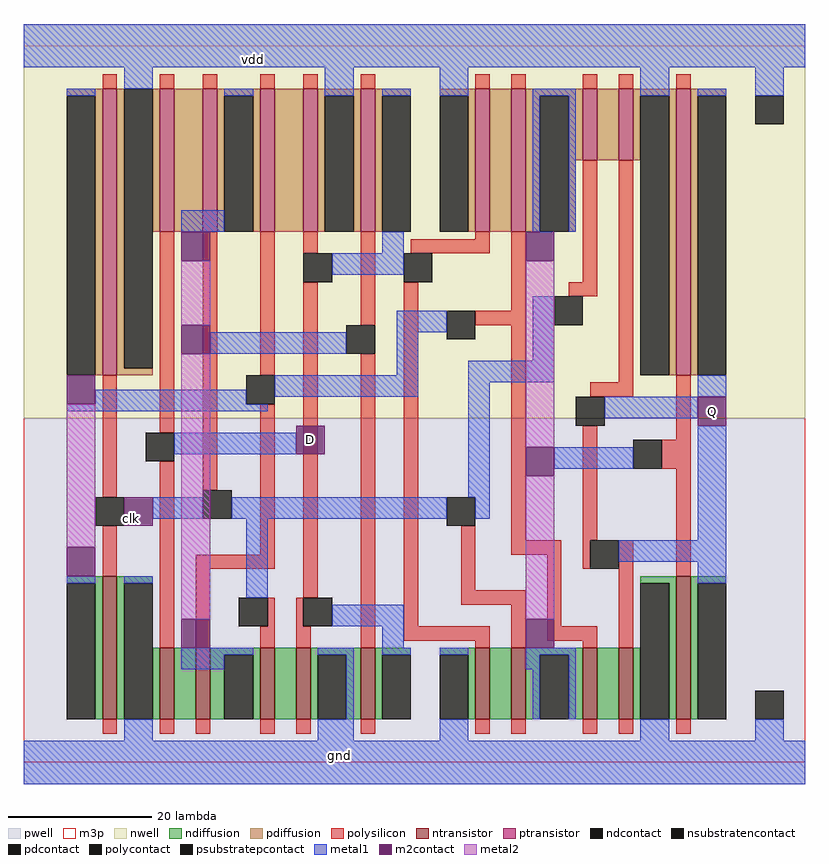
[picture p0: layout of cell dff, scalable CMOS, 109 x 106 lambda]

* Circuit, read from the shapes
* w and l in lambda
.subckt dff D Q clk gnd vdd
M1 gnd clk n1 gnd nfet w=20 l=2
M2 n2 D gnd gnd nfet w=10 l=2
M3 n3 n1 n2 gnd nfet w=10 l=2
M4 n4 clk n3 gnd nfet w=10 l=2
M5 gnd n5 n4 gnd nfet w=10 l=2
M6 n5 n3 gnd gnd nfet w=10 l=2
M7 n6 n5 gnd gnd nfet w=10 l=2
M8 n7 clk n6 gnd nfet w=10 l=2
M9 n8 n1 n7 gnd nfet w=10 l=2
M10 gnd Q n8 gnd nfet w=10 l=2
M11 Q n7 gnd gnd nfet w=20 l=2
M12 vdd clk n1 vdd pfet w=40 l=2
M13 n9 D vdd vdd pfet w=20 l=2
M14 n3 clk n9 vdd pfet w=20 l=2
M15 n10 n1 n3 vdd pfet w=20 l=2
M16 vdd n5 n10 vdd pfet w=20 l=2
M17 n5 n3 vdd vdd pfet w=20 l=2
M18 n11 n5 vdd vdd pfet w=20 l=2
M19 n7 n1 n11 vdd pfet w=20 l=2
M20 n12 clk n7 vdd pfet w=10 l=2
M21 vdd Q n12 vdd pfet w=10 l=2
M22 Q n7 vdd vdd pfet w=40 l=2
.ends

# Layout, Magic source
magic
tech scmos
<< nwell >>
rect 0 48 109 103
<< pwell >>
rect 0 -3 109 48
<< ntransistor >>
rect 11 6 13 26
rect 19 6 21 16
rect 24 6 26 16
rect 33 6 35 16
rect 38 6 40 16
rect 47 6 49 16
rect 63 6 65 16
rect 68 6 70 16
rect 78 6 80 16
rect 83 6 85 16
rect 91 6 93 26
<< ptransistor >>
rect 11 54 13 94
rect 19 74 21 94
rect 25 74 27 94
rect 33 74 35 94
rect 39 74 41 94
rect 47 74 49 94
rect 63 74 65 94
rect 68 74 70 94
rect 78 84 80 94
rect 83 84 85 94
rect 91 54 93 94
<< ndiffusion >>
rect 6 25 11 26
rect 10 6 11 25
rect 13 25 18 26
rect 13 6 14 25
rect 86 25 91 26
rect 18 6 19 16
rect 21 6 24 16
rect 26 15 33 16
rect 26 6 28 15
rect 32 6 33 15
rect 35 6 38 16
rect 40 15 47 16
rect 40 6 41 15
rect 45 6 47 15
rect 49 15 54 16
rect 49 6 50 15
rect 58 15 63 16
rect 62 6 63 15
rect 65 6 68 16
rect 70 15 78 16
rect 70 6 72 15
rect 76 6 78 15
rect 80 6 83 16
rect 85 6 86 16
rect 90 6 91 25
rect 93 25 98 26
rect 93 6 94 25
<< pdiffusion >>
rect 6 93 11 94
rect 10 54 11 93
rect 13 55 14 94
rect 18 74 19 94
rect 21 74 25 94
rect 27 93 33 94
rect 27 74 28 93
rect 32 74 33 93
rect 35 74 39 94
rect 41 93 47 94
rect 41 74 42 93
rect 46 74 47 93
rect 49 93 54 94
rect 49 74 50 93
rect 58 93 63 94
rect 62 74 63 93
rect 65 74 68 94
rect 70 93 78 94
rect 70 74 72 93
rect 76 84 78 93
rect 80 84 83 94
rect 85 93 91 94
rect 85 84 86 93
rect 76 74 77 84
rect 13 54 18 55
rect 90 54 91 93
rect 93 93 98 94
rect 93 54 94 93
<< ndcontact >>
rect 6 6 10 25
rect 14 6 18 25
rect 28 6 32 15
rect 41 6 45 15
rect 50 6 54 15
rect 58 6 62 15
rect 72 6 76 15
rect 86 6 90 25
rect 94 6 98 25
<< pdcontact >>
rect 6 54 10 93
rect 14 55 18 94
rect 28 74 32 93
rect 42 74 46 93
rect 50 74 54 93
rect 58 74 62 93
rect 72 74 76 93
rect 86 54 90 93
rect 94 54 98 93
<< psubstratepcontact >>
rect 102 6 106 10
<< nsubstratencontact >>
rect 102 89 106 93
<< polysilicon >>
rect 11 94 13 96
rect 19 94 21 96
rect 25 94 27 96
rect 33 94 35 96
rect 39 94 41 96
rect 47 94 49 96
rect 63 94 65 96
rect 68 94 70 96
rect 78 94 80 96
rect 83 94 85 96
rect 91 94 93 96
rect 11 37 13 54
rect 19 46 21 74
rect 11 26 13 33
rect 19 16 21 42
rect 25 38 27 74
rect 33 54 35 74
rect 33 29 35 50
rect 24 27 35 29
rect 39 71 41 74
rect 24 16 26 27
rect 39 23 41 67
rect 47 61 49 74
rect 63 73 65 74
rect 54 71 65 73
rect 34 19 35 23
rect 33 16 35 19
rect 38 19 39 23
rect 38 16 40 19
rect 47 16 49 57
rect 53 19 55 67
rect 68 63 70 74
rect 78 67 80 84
rect 76 65 80 67
rect 63 61 70 63
rect 61 24 63 33
rect 68 31 70 61
rect 83 53 85 84
rect 79 51 85 53
rect 78 31 80 47
rect 91 45 93 54
rect 89 41 93 45
rect 68 29 75 31
rect 61 22 70 24
rect 53 17 65 19
rect 63 16 65 17
rect 68 16 70 22
rect 73 19 75 29
rect 78 27 79 31
rect 73 17 80 19
rect 78 16 80 17
rect 83 16 85 31
rect 91 26 93 41
rect 11 4 13 6
rect 19 4 21 6
rect 24 4 26 6
rect 33 4 35 6
rect 38 4 40 6
rect 47 4 49 6
rect 63 4 65 6
rect 68 4 70 6
rect 78 4 80 6
rect 83 4 85 6
rect 91 4 93 6
<< polycontact >>
rect 17 42 21 46
rect 10 33 14 37
rect 31 50 35 54
rect 25 34 29 38
rect 39 67 43 71
rect 45 57 49 61
rect 30 19 34 23
rect 39 19 43 23
rect 53 67 57 71
rect 59 59 63 63
rect 74 61 78 65
rect 59 33 63 37
rect 77 47 81 51
rect 85 41 89 45
rect 79 27 83 31
<< metal1 >>
rect 0 97 109 103
rect 14 94 18 97
rect 6 93 10 94
rect 28 93 32 94
rect 22 74 28 77
rect 42 93 46 97
rect 50 93 54 94
rect 58 93 62 97
rect 71 93 77 94
rect 71 74 72 93
rect 76 74 77 93
rect 86 93 90 97
rect 50 71 53 74
rect 43 68 53 71
rect 26 57 45 60
rect 52 60 59 63
rect 52 54 55 60
rect 71 56 74 65
rect 10 50 31 52
rect 35 51 55 54
rect 62 53 74 56
rect 94 93 98 94
rect 102 93 106 97
rect 6 49 34 50
rect 21 43 38 46
rect 18 34 25 37
rect 62 37 65 53
rect 94 51 98 54
rect 81 48 94 51
rect 74 41 85 44
rect 29 34 59 37
rect 6 25 10 26
rect 14 25 18 26
rect 31 23 34 34
rect 63 34 65 37
rect 94 31 98 47
rect 83 28 98 31
rect 94 25 98 28
rect 43 19 53 22
rect 50 16 53 19
rect 22 15 32 16
rect 22 13 28 15
rect 41 15 46 16
rect 45 6 46 15
rect 50 15 54 16
rect 58 15 62 16
rect 70 15 77 16
rect 70 13 72 15
rect 71 6 72 13
rect 76 6 77 15
rect 14 3 18 6
rect 41 3 46 6
rect 58 3 62 6
rect 86 3 90 6
rect 102 3 106 6
rect 0 -3 109 3
<< m2contact >>
rect 22 70 26 74
rect 70 70 74 74
rect 22 57 26 61
rect 6 50 10 54
rect 38 43 42 47
rect 14 33 18 37
rect 94 47 98 51
rect 70 40 74 44
rect 6 26 10 30
rect 22 16 26 20
rect 70 16 74 20
<< metal2 >>
rect 22 61 26 70
rect 6 30 10 50
rect 22 20 26 57
rect 70 44 74 70
rect 70 20 74 40
<< m3p >>
rect 0 0 109 100
<< labels >>
rlabel m2contact 15 34 15 34 4 clk
rlabel m2contact 40 45 40 45 4 D
rlabel m2contact 96 49 96 49 4 Q
rlabel metal1 32 98 32 98 4 vdd
rlabel metal1 44 1 44 1 4 gnd
<< properties >>
string path 0.000 0.000 900.000 0.000 900.000 900.000 0.000 900.000 0.000 0.000 
<< end >>
